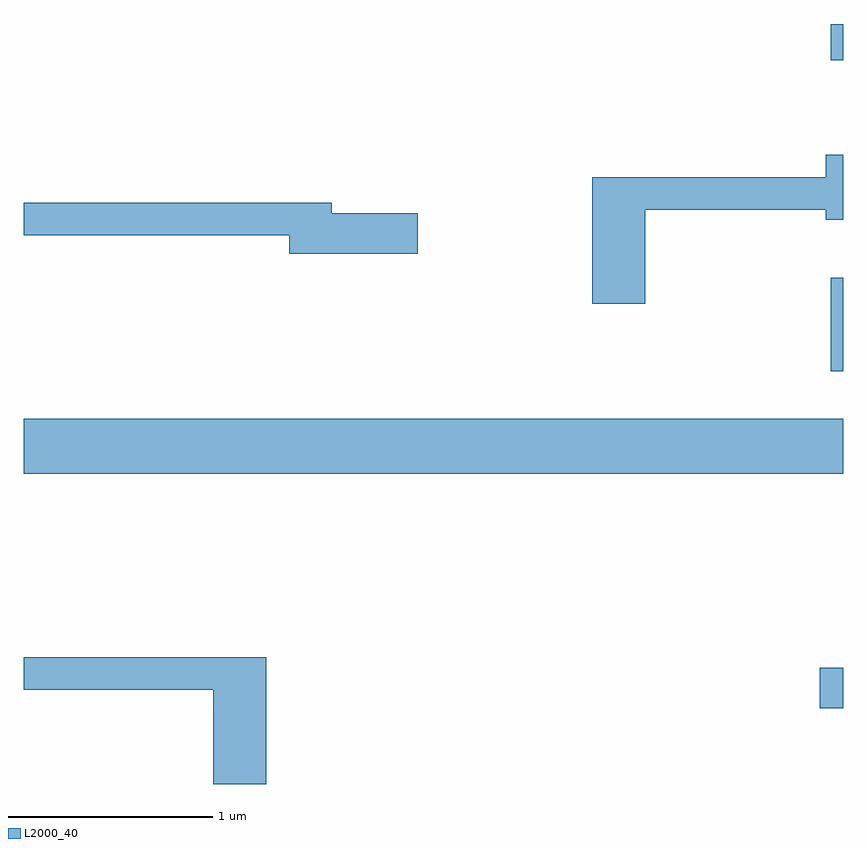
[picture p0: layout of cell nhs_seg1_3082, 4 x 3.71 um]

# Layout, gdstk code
import gdstk
lib = gdstk.Library(unit=1e-6, precision=1e-09)
def R(c, l, rs):  # rectangles x0, y0, x1, y1
    for r in rs: c.add(gdstk.rectangle(r[:2], r[2:], *l))
def P(c, l, *ps):  # polygons
    for p in ps: c.add(gdstk.Polygon(p, *l))
L2000_40 = (2000, 40)

nhs_seg1_3082 = lib.new_cell('nhs_seg1_3082')
R(nhs_seg1_3082, L2000_40, [(281.496,958.371,281.611,958.569), (277.611,959.516,281.611,959.784), (281.551,960.016,281.611,960.474), (281.551,961.536,281.611,961.712)])
P(nhs_seg1_3082, L2000_40, [(280.644,960.806),(281.526,960.806),(281.526,960.756),(281.611,960.756),(281.611,961.074),(281.526,961.074),(281.526,960.964),(280.386,960.964),(280.386,960.346),(280.644,960.346)],
  [(279.534,960.789),(279.114,960.789),(279.114,960.839),(277.611,960.839),(277.611,960.681),(278.906,960.681),(278.906,960.591),(279.534,960.591)],
  [(278.794,958.619),(277.611,958.619),(277.611,958.461),(278.536,958.461),(278.536,958.001),(278.794,958.001)])

lib.write_gds('nhs_seg1_3082.gds')
